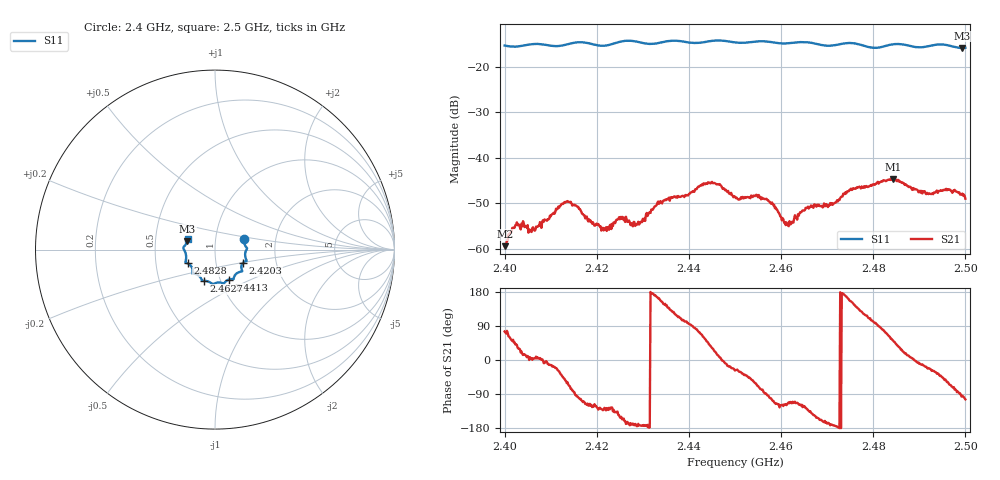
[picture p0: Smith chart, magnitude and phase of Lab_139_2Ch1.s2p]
# Hz S RI R
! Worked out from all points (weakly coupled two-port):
!   601 points, 2.4 GHz to 2.5 GHz, reference 50 ohm
!   highest |S21| = -44.72 dB at 2.4843 GHz (marker M1); lowest = -59.5 dB at 2.4002 GHz (marker M2)
!   lowest |S11| = -15.8 dB at 2.4993 GHz (marker M3), VSWR 1.38, Z = 36.5 + j3.6 ohm
!   |S11| at or under -10 dB: start of sweep to end of sweep
!   S12 and S22 are empty: the file has one direction only
!   S11 on the Smith chart (normalised r, x): 2.4 GHz: 1.37, +0.17; 2.4203 GHz: 1.35, -0.20; 2.4413 GHz: 1.09, -0.38; 2.4627 GHz: 0.83, -0.30; 2.4828 GHz: 0.73, -0.11; 2.5 GHz: 0.73, +0.09
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2.4e9  0.1615 0.0585  0.000272 0.00103  0 0  0 0
2.400167e9  0.1615 0.0569  0.00032 0.00101  0 0  0 0
2.402167e9  0.1636 0.0343  0.00117 0.00123  0 0  0 0
2.406167e9  0.1781 0.00869  0.00171 0.000125  0 0  0 0
2.413167e9  0.1697 -0.0435  0.00189 -0.00259  0 0  0 0
2.416667e9  0.1763 -0.0623  -0.000703 -0.00243  0 0  0 0
2.420333e9  0.156 -0.0733  -0.00122 -0.00141  0 0  0 0
2.425333e9  0.1506 -0.1171  -0.00185 -0.00107  0 0  0 0
2.428833e9  0.1435 -0.123  -0.00186 -0.000181  0 0  0 0
2.433333e9  0.1077 -0.1478  -0.00315 0.000975  0 0  0 0
2.441333e9  0.0753 -0.1674  0.000466 0.00445  0 0  0 0
2.445333e9  0.0509 -0.1875  0.00464 0.00246  0 0  0 0
2.45e9  0.0303 -0.1836  0.00329 -0.00173  0 0  0 0
2.455e9  -0.00808 -0.191  0.00135 -0.00342  0 0  0 0
2.461167e9  -0.0489 -0.1747  -0.000945 -0.0017  0 0  0 0
2.462667e9  -0.0615 -0.1739  -0.000766 -0.00177  0 0  0 0
2.466667e9  -0.0744 -0.1682  -0.00224 -0.00183  0 0  0 0
2.482833e9  -0.1529 -0.0767  0.00179 0.00525  0 0  0 0
2.483333e9  -0.1565 -0.0751  0.00253 0.00511  0 0  0 0
2.484333e9  -0.1619 -0.0731  0.00366 0.00451  0 0  0 0
2.499333e9  -0.154 0.0481  -0.00029 -0.00402  0 0  0 0
2.5e9  -0.152 0.0573  -0.000845 -0.00344  0 0  0 0
